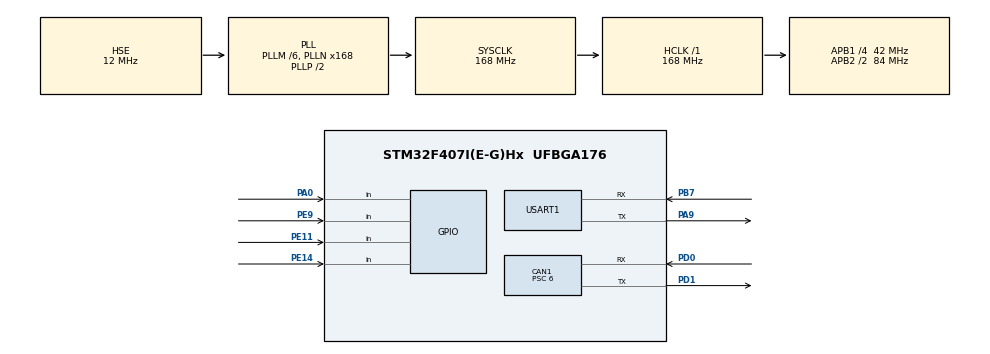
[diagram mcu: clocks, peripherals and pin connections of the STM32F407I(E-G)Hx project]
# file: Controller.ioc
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CAN1.BS1=CAN_BS1_3TQ
CAN1.BS2=CAN_BS2_3TQ
CAN1.CalculateBaudRate=1000000
CAN1.CalculateTimeBit=1000
CAN1.CalculateTimeQuantum=142.85714285714286
CAN1.NART=ENABLE
CAN1.Prescaler=6
CAN1.TXFP=ENABLE
FREERTOS.INCLUDE_vTaskDelayUntil=1
FREERTOS.INCLUDE_xTaskGetHandle=1
FREERTOS.Tasks01=defaultTask,-3,64,StartDefaultTask,Default,NULL,Dynamic,NULL,NULL;SendDataTask,0,128,StartSendDataTask,As weak,NULL,Dynamic,NULL,NULL;IMU_Task,-3,128,Start_IMU_Task,As weak,NULL,Dynamic,NULL,NULL;ZeroPointTask,0,128,StartZeroPointTask,As weak,NULL,Dynamic,NULL,NULL
FREERTOS.configMINIMAL_STACK_SIZE=64
Mcu.Family=STM32F4
Mcu.Name=STM32F407I(E-G)Hx
Mcu.Package=UFBGA176
NVIC.CAN1_RX0_IRQn=true\:5\:0\:false\:false\:true\:true\:true\:true\:true
NVIC.CAN1_RX1_IRQn=true\:5\:0\:false\:false\:true\:true\:true\:true\:true
NVIC.PriorityGroup=NVIC_PRIORITYGROUP_4
NVIC.TIM1_UP_TIM10_IRQn=true\:5\:0\:false\:false\:true\:false\:false\:true\:true
NVIC.TimeBase=TIM1_UP_TIM10_IRQn
NVIC.TimeBaseIP=TIM1
NVIC.USART1_IRQn=true\:5\:0\:false\:false\:true\:true\:true\:true\:true
PA0-WKUP.GPIO_PuPd=GPIO_PULLUP
PA0-WKUP.Signal=GPIO_Input
PA13.Mode=Serial_Wire
PA13.Signal=SYS_JTMS-SWDIO
PA14.Mode=Serial_Wire
PA14.Signal=SYS_JTCK-SWCLK
PA7.Signal=SPI1_MOSI
PA9.Mode=Asynchronous
PA9.Signal=USART1_TX
PB7.Mode=Asynchronous
PB7.Signal=USART1_RX
PC14-OSC32_IN.Mode=LSE-External-Oscillator
PC14-OSC32_IN.Signal=RCC_OSC32_IN
PC15-OSC32_OUT.Mode=LSE-External-Oscillator
PC15-OSC32_OUT.Signal=RCC_OSC32_OUT
PD0.Mode=CAN_Activate
PD0.Signal=CAN1_RX
PD1.Mode=CAN_Activate
PD1.Signal=CAN1_TX
PE11.GPIO_PuPd=GPIO_PULLUP
PE11.Signal=GPIO_Input
PE14.GPIO_PuPd=GPIO_PULLUP
PE14.Signal=GPIO_Input
PE9.GPIO_PuPd=GPIO_PULLUP
PE9.Signal=GPIO_Input
PH0-OSC_IN.Mode=HSE-External-Oscillator
PH0-OSC_IN.Signal=RCC_OSC_IN
PH1-OSC_OUT.Mode=HSE-External-Oscillator
PH1-OSC_OUT.Signal=RCC_OSC_OUT
ProjectManager.HeapSize=0x200
ProjectManager.StackSize=0x400
ProjectManager.TargetToolchain=MDK-ARM V5.32
RCC.48MHZClocksFreq_Value=84000000
RCC.AHBFreq_Value=168000000
RCC.APB1CLKDivider=RCC_HCLK_DIV4
RCC.APB1Freq_Value=42000000
RCC.APB1TimFreq_Value=84000000
RCC.APB2CLKDivider=RCC_HCLK_DIV2
RCC.APB2Freq_Value=84000000
RCC.APB2TimFreq_Value=168000000
RCC.CortexFreq_Value=168000000
RCC.HCLKFreq_Value=168000000
RCC.HSE_VALUE=12000000
RCC.HSI_VALUE=16000000
RCC.PLLM=6
RCC.PLLN=168
RCC.PLLSourceVirtual=RCC_PLLSOURCE_HSE
RCC.SYSCLKFreq_VALUE=168000000
RCC.SYSCLKSource=RCC_SYSCLKSOURCE_PLLCLK
RCC.VCOOutputFreq_Value=336000000
USART1.VirtualMode=VM_ASYNC
USART1.WordLength=WORDLENGTH_8B
VP_FREERTOS_VS_CMSIS_V1.Mode=CMSIS_V1
VP_SYS_VS_tim1.Mode=TIM1
board=custom

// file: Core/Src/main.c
/* USER CODE BEGIN Header */
/**
 ******************************************************************************
 * @file           : main.c
 * @brief          : Main program body
 ******************************************************************************
 * @attention
 *
 * Copyright (c) 2023 STMicroelectronics.
 * All rights reserved.
 *
 * This software is licensed under terms that can be found in the LICENSE file
 * in the root directory of this software component.
 * If no LICENSE file comes with this software, it is provided AS-IS.
 *
 ******************************************************************************
 */
/* USER CODE END Header */
#include "main.h"
#include "cmsis_os.h"
#include "can.h"
#include "usart.h"
#include "gpio.h"

/* USER CODE BEGIN Includes */
#include "bsp_can.h"
#include "pid.h"
#include "key.h"
/* USER CODE END Includes */

/* USER CODE BEGIN PTD */
extern moto_info_t motor_yaw_info_1;
int motor_direction = 1;
/* USER CODE END PTD */

void SystemClock_Config(void);
void MX_FREERTOS_Init(void);

int main(void)
{

  /* MCU Configuration--------------------------------------------------------*/

  /* Reset of all peripherals, Initializes the Flash interface and the Systick. */
  HAL_Init();

  /* Configure the system clock */
  SystemClock_Config();

  /* Initialize all configured peripherals */
  MX_GPIO_Init();
  MX_USART1_UART_Init();
  MX_CAN1_Init();
  /* USER CODE BEGIN 2 */
	Key_HandleTypeDef user_key;
	Key_Init(&user_key, GPIOA, GPIO_PIN_0);
	pid_all_init();
	Can_filter_init();
  pid_type_def speed;
  PID_init(&speed, PID_POSITION,20, 0, 0, 1000, 1000);
  /* USER CODE END 2 */

  /* Call init function for freertos objects (in freertos.c) */
  //MX_FREERTOS_Init();

  /* Start scheduler */
  //osKernelStart();

  /* We should never get here as control is now taken by the scheduler */
  /* Infinite loop */
  /* USER CODE BEGIN WHILE */

  while (1)
  {
		Key_Update(&user_key);
		static Key_State last_state = KEY_STATE_RELEASE;
    if (user_key.state == KEY_STATE_PRESS && last_state == KEY_STATE_RELEASE)
		{
			motor_direction *= -1;
    }
    last_state = user_key.state;
		float target_speed = 816.0f * motor_direction;
    PID_calc(&speed, motor_yaw_info_1.rotor_speed, target_speed);
    CAN_cmd_chassis(speed.out, 0, 0, 0);
   //	PID_calc(&speed, motor_yaw_info_1.rotor_speed,40);
	//	CAN_cmd_chassis(speed.out,0,0,0);
		HAL_Delay(10);
    /* USER CODE END WHILE */

  }
}

void SystemClock_Config(void)
{
  RCC_OscInitTypeDef RCC_OscInitStruct = {0};
  RCC_ClkInitTypeDef RCC_ClkInitStruct = {0};

  /** Configure the main internal regulator output voltage
  */
  __HAL_RCC_PWR_CLK_ENABLE();
  __HAL_PWR_VOLTAGESCALING_CONFIG(PWR_REGULATOR_VOLTAGE_SCALE1);

  /** Initializes the RCC Oscillators according to the specified parameters
  * in the RCC_OscInitTypeDef structure.
  */
  RCC_OscInitStruct.OscillatorType = RCC_OSCILLATORTYPE_HSE;
  RCC_OscInitStruct.HSEState = RCC_HSE_ON;
  RCC_OscInitStruct.PLL.PLLState = RCC_PLL_ON;
  RCC_OscInitStruct.PLL.PLLSource = RCC_PLLSOURCE_HSE;
  RCC_OscInitStruct.PLL.PLLM = 6;
  RCC_OscInitStruct.PLL.PLLN = 168;
  RCC_OscInitStruct.PLL.PLLP = RCC_PLLP_DIV2;
  RCC_OscInitStruct.PLL.PLLQ = 4;
  if (HAL_RCC_OscConfig(&RCC_OscInitStruct) != HAL_OK)
  {
    Error_Handler();
  }

  /** Initializes the CPU, AHB and APB buses clocks
  */
  RCC_ClkInitStruct.ClockType = RCC_CLOCKTYPE_HCLK|RCC_CLOCKTYPE_SYSCLK
                              |RCC_CLOCKTYPE_PCLK1|RCC_CLOCKTYPE_PCLK2;
  RCC_ClkInitStruct.SYSCLKSource = RCC_SYSCLKSOURCE_PLLCLK;
  RCC_ClkInitStruct.AHBCLKDivider = RCC_SYSCLK_DIV1;
  RCC_ClkInitStruct.APB1CLKDivider = RCC_HCLK_DIV4;
  RCC_ClkInitStruct.APB2CLKDivider = RCC_HCLK_DIV2;

  if (HAL_RCC_ClockConfig(&RCC_ClkInitStruct, FLASH_LATENCY_5) != HAL_OK)
  {
    Error_Handler();
  }
}

void HAL_TIM_PeriodElapsedCallback(TIM_HandleTypeDef *htim)
{
  if (htim->Instance == TIM1) {
    HAL_IncTick();
  }
}

void Error_Handler(void)
{
  __disable_irq();
  while (1)
  {
  }
}
